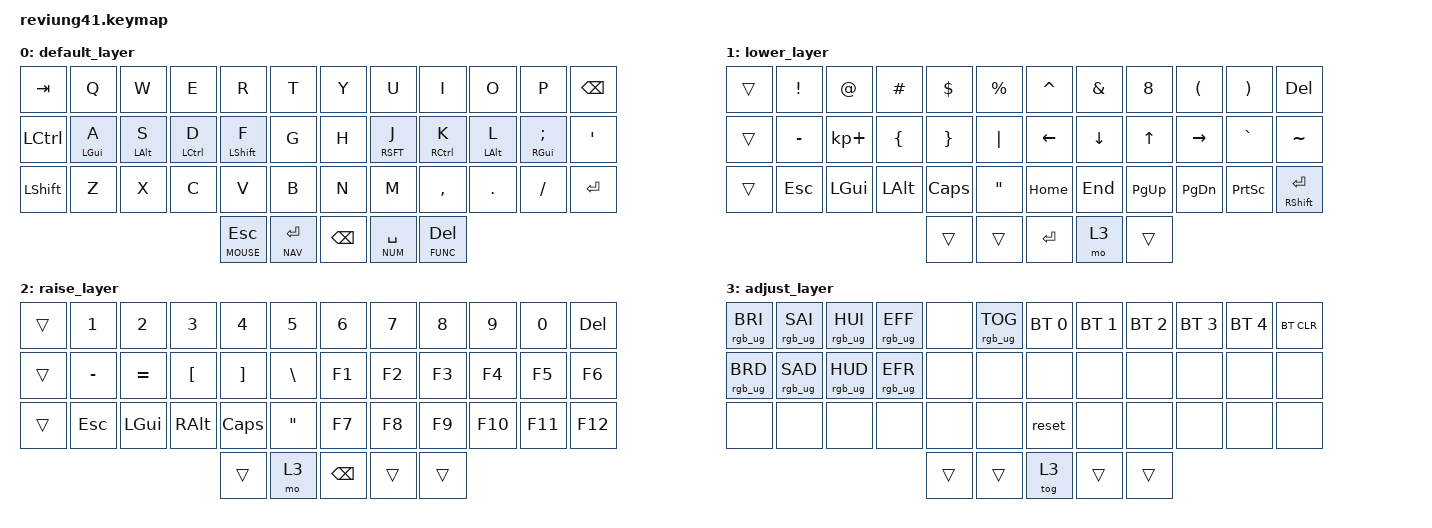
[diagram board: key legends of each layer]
/*
 * Copyright (c) 2020 The ZMK Contributors
 *
 * SPDX-License-Identifier: MIT
 */

#include <behaviors.dtsi>
#include <dt-bindings/zmk/keys.h>
#include <dt-bindings/zmk/bt.h>
#include <dt-bindings/zmk/rgb.h>

#define DEFAULT 0
#define BASE  0
#define NAV   1
#define MOUSE 2
#define NUM   3

/ {
        keymap {
                compatible = "zmk,keymap";

                default_layer {
// -------------------------------------------------------------------------------------
// |  TAB |  Q    |  W    |  E    |  R    |  T  |   |  Y    |  U    |  I    |  O    |  P    |   BKSP    |
// | CTRL | GUI/A | ALT/S | CTL/D | SFT/F |  G  |   |  H    | SFT/J | CTL/K | ALT/L | GUI/; |    '      |
// | SHFT |  Z    |  X    |  C    |  V    |  B  |   |  N    |  M    |  ,    |  .    |  /    |   RET     |
//                         | MOUSE/ESC | NAV/RET | BKSP | NUM/SPC  | FUNC/DEL |
                        bindings = <
   &kp TAB   &kp Q      &kp W      &kp E       &kp R       &kp T              &kp Y &kp U       &kp I          &kp O       &kp P         &kp BSPC
   &kp LCTRL &mt LGUI A &mt LALT S &mt LCTRL D &mt LSHFT F &kp G              &kp H &mt RSFT J  &mt RCTRL K    &mt LALT L  &mt RGUI SEMI &kp SQT
   &kp LSHFT &kp Z      &kp X      &kp C       &kp V       &kp B              &kp N &kp M       &kp COMMA      &kp DOT     &kp FSLH      &kp RET
                                             &lt MOUSE ESC &lt NAV RET  &kp BSPC   &lt NUM SPC &lt FUNC DEL
                        >;
                };

                lower_layer {
// ----------------------------------------------------------------------------------
// |    |  !  |  @  |  #  |  $  |  %  |   |  ^  |  &  |  *  |  (  |  )  |    DEL    |
// |    |  _  |  +  |  {  |  }  | "|" |   | LFT | DWN |  UP | RGT |  `  |     ~     |
// |    | ESC | GUI | ALT | CAPS|  "  |   | HOME| END | PGUP| PGDN| PRSC| SHFT(RET) |
//                       |     |     | RET | ADJ |     |
                        bindings = <
   &trans &kp EXCL  &kp AT      &kp HASH &kp DLLR &kp PRCNT      &kp CARET &kp AMPS &kp N8    &kp LPAR  &kp RPAR  &kp DEL
   &trans &kp MINUS &kp KP_PLUS &kp LBRC &kp RBRC &kp PIPE       &kp LEFT  &kp DOWN &kp UP    &kp RIGHT &kp GRAVE &kp TILDE
   &trans &kp ESC   &kp LGUI    &kp LALT &kp CLCK &kp DQT        &kp HOME  &kp END  &kp PG_UP &kp PG_DN &kp PSCRN &mt RSHFT RET
                                 &trans      &trans       &kp RET        &mo 3       &trans
                        >;
                };

                raise_layer {
// -----------------------------------------------------------------------------------------
// |    |  1  |  2  |  3  |  4  |  5  |   |  6  |  7  |  8  |  9  |  0  | DEL |
// |    |  -  |  =  |  [  |  ]  |  \  |   | F1  | F2  | F3  | F4  | F5  | F6  |
// |    | ESC | GUI | ALT | CAPS|  "  |   | F7  | F8  | F9  | F10 | F11 | F12 |
//                       |     | ADJ | BKSP |    |     |
                        bindings = <
   &trans &kp N1    &kp N2    &kp N3    &kp N4    &kp N5        &kp N6    &kp N7    &kp N8    &kp N9    &kp N0    &kp DEL
   &trans &kp MINUS &kp EQUAL &kp LBKT  &kp RBKT  &kp BSLH      &kp F1    &kp F2    &kp F3    &kp F4    &kp F5    &kp F6
   &trans &kp ESC   &kp LGUI  &kp RALT  &kp CLCK  &kp DQT       &kp F7    &kp F8    &kp F9    &kp F10   &kp F11   &kp F12
                                &trans      &mo 3       &kp BSPC        &trans      &trans
                        >;
                };

                adjust_layer {
// -----------------------------------------------------------------------------------------
// | RGB BRI+ | RGB SAT+ | RGB HUE+ | RGB ANI+ |    | RGB TOG |   |  BT1  | BT2 | BT3 | BT4 | BT5 | BT CLR |
// | RGB BRI- | RGB SAT- | RGB HUE- | RGB ANI- |    |         |   |       |     |     |     |     |        |
// |          |          |          |          |    |         |   | RESET |     |     |     |     |        |
//                                              |     |     |     |     |     |
                        bindings = <
   &rgb_ug RGB_BRI &rgb_ug RGB_SAI &rgb_ug RGB_HUI &rgb_ug RGB_EFF &none &rgb_ug RGB_TOG    &bt BT_SEL 0 &bt BT_SEL 1 &bt BT_SEL 2 &bt BT_SEL 3 &bt BT_SEL 4 &bt BT_CLR
   &rgb_ug RGB_BRD &rgb_ug RGB_SAD &rgb_ug RGB_HUD &rgb_ug RGB_EFR &none &none              &none        &none        &none        &none        &none        &none
   &none           &none           &none           &none           &none &none              &reset       &none        &none        &none        &none        &none
                                                             &trans      &trans       &tog 3        &trans      &trans
                        >;
                };
        };
};
